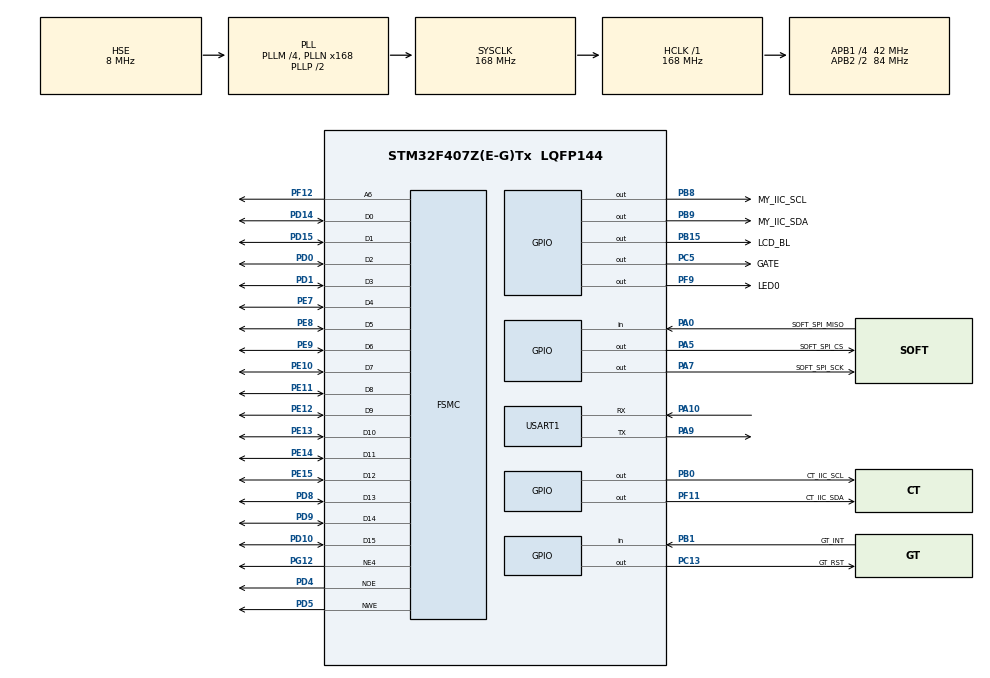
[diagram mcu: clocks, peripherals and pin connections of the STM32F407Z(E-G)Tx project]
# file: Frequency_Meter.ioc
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FSMC.AddressSetupTime4=2
FSMC.DataSetupTime4=5
FSMC.ExtendedAddressSetupTime4=0
FSMC.ExtendedDataSetupTime4=3
FSMC.ExtendedMode4=FSMC_EXTENDED_MODE_ENABLE
Mcu.Family=STM32F4
Mcu.Name=STM32F407Z(E-G)Tx
Mcu.Package=LQFP144
NVIC.PriorityGroup=NVIC_PRIORITYGROUP_4
NVIC.TIM3_IRQn=true\:1\:0\:true\:false\:true\:true\:true
NVIC.TIM4_IRQn=true\:2\:0\:true\:false\:true\:true\:true
NVIC.TIM5_IRQn=true\:3\:0\:true\:false\:true\:true\:true
PA0-WKUP.GPIO_Label=SOFT_SPI_MISO
PA0-WKUP.GPIO_PuPd=GPIO_PULLUP
PA0-WKUP.Signal=GPIO_Input
PA10.Mode=Asynchronous
PA10.Signal=USART1_RX
PA13.Mode=Serial_Wire
PA13.Signal=SYS_JTMS-SWDIO
PA14.Mode=Serial_Wire
PA14.Signal=SYS_JTCK-SWCLK
PA5.GPIO_Label=SOFT_SPI_CS
PA5.GPIO_PuPd=GPIO_PULLUP
PA5.GPIO_Speed=GPIO_SPEED_FREQ_VERY_HIGH
PA5.PinState=GPIO_PIN_SET
PA5.Signal=GPIO_Output
PA7.GPIO_Label=SOFT_SPI_SCK
PA7.GPIO_Speed=GPIO_SPEED_FREQ_VERY_HIGH
PA7.PinState=GPIO_PIN_SET
PA7.Signal=GPIO_Output
PA9.Mode=Asynchronous
PA9.Signal=USART1_TX
PB0.GPIO_Label=CT_IIC_SCL
PB0.GPIO_PuPd=GPIO_PULLUP
PB0.GPIO_Speed=GPIO_SPEED_FREQ_VERY_HIGH
PB0.PinState=GPIO_PIN_SET
PB0.Signal=GPIO_Output
PB1.GPIO_Label=GT_INT
PB1.GPIO_PuPd=GPIO_PULLUP
PB1.Signal=GPIO_Input
PB15.GPIO_Label=LCD_BL
PB15.Signal=GPIO_Output
PB8.GPIO_Label=MY_IIC_SCL
PB8.GPIO_PuPd=GPIO_PULLUP
PB8.GPIO_Speed=GPIO_SPEED_FREQ_HIGH
PB8.PinState=GPIO_PIN_SET
PB8.Signal=GPIO_Output
PB9.GPIO_Label=MY_IIC_SDA
PB9.GPIO_PuPd=GPIO_PULLUP
PB9.GPIO_Speed=GPIO_SPEED_FREQ_HIGH
PB9.PinState=GPIO_PIN_SET
PB9.Signal=GPIO_Output
PC13-ANTI_TAMP.GPIO_Label=GT_RST
PC13-ANTI_TAMP.GPIO_PuPd=GPIO_PULLUP
PC13-ANTI_TAMP.GPIO_Speed=GPIO_SPEED_FREQ_LOW
PC13-ANTI_TAMP.PinState=GPIO_PIN_RESET
PC13-ANTI_TAMP.Signal=GPIO_Output
PC5.GPIO_Label=GATE
PC5.GPIO_PuPd=GPIO_PULLUP
PC5.GPIO_Speed=GPIO_SPEED_FREQ_LOW
PC5.Signal=GPIO_Output
PD0.Signal=FSMC_D2_DA2
PD1.Signal=FSMC_D3_DA3
PD10.Signal=FSMC_D15_DA15
PD14.Signal=FSMC_D0_DA0
PD15.Signal=FSMC_D1_DA1
PD4.Signal=FSMC_NOE
PD5.Signal=FSMC_NWE
PD8.Signal=FSMC_D13_DA13
PD9.Signal=FSMC_D14_DA14
PE10.Signal=FSMC_D7_DA7
PE11.Signal=FSMC_D8_DA8
PE12.Signal=FSMC_D9_DA9
PE13.Signal=FSMC_D10_DA10
PE14.Signal=FSMC_D11_DA11
PE15.Signal=FSMC_D12_DA12
PE7.Signal=FSMC_D4_DA4
PE8.Signal=FSMC_D5_DA5
PE9.Signal=FSMC_D6_DA6
PF11.GPIO_Label=CT_IIC_SDA
PF11.GPIO_ModeDefaultOutputPP=GPIO_MODE_OUTPUT_PP
PF11.GPIO_PuPd=GPIO_PULLUP
PF11.GPIO_Speed=GPIO_SPEED_FREQ_VERY_HIGH
PF11.PinState=GPIO_PIN_SET
PF11.Signal=GPIO_Output
PF12.Signal=FSMC_A6
PF9.GPIO_Label=LED0
PF9.PinState=GPIO_PIN_SET
PF9.Signal=GPIO_Output
PG12.Mode=NorPsramChipSelect4_4
PG12.Signal=FSMC_NE4
PH0-OSC_IN.Mode=HSE-External-Oscillator
PH0-OSC_IN.Signal=RCC_OSC_IN
PH1-OSC_OUT.Mode=HSE-External-Oscillator
PH1-OSC_OUT.Signal=RCC_OSC_OUT
ProjectManager.HeapSize=0x200
ProjectManager.StackSize=0x400
ProjectManager.TargetToolchain=SW4STM32
RCC.48MHZClocksFreq_Value=84000000
RCC.AHBFreq_Value=168000000
RCC.APB1CLKDivider=RCC_HCLK_DIV4
RCC.APB1Freq_Value=42000000
RCC.APB1TimFreq_Value=84000000
RCC.APB2CLKDivider=RCC_HCLK_DIV2
RCC.APB2Freq_Value=84000000
RCC.APB2TimFreq_Value=168000000
RCC.CortexFreq_Value=168000000
RCC.HCLKFreq_Value=168000000
RCC.HSE_VALUE=8000000
RCC.HSI_VALUE=16000000
RCC.LSE_VALUE=32768
RCC.PLLM=4
RCC.PLLN=168
RCC.PLLSourceVirtual=RCC_PLLSOURCE_HSE
RCC.SYSCLKFreq_VALUE=168000000
RCC.SYSCLKSource=RCC_SYSCLKSOURCE_PLLCLK
RCC.VCOOutputFreq_Value=336000000
SH.FSMC_A6.0=FSMC_A6,A6_4
SH.FSMC_D0_DA0.0=FSMC_D0,16b-d4
SH.FSMC_D10_DA10.0=FSMC_D10,16b-d4
SH.FSMC_D11_DA11.0=FSMC_D11,16b-d4
SH.FSMC_D12_DA12.0=FSMC_D12,16b-d4
SH.FSMC_D13_DA13.0=FSMC_D13,16b-d4
SH.FSMC_D14_DA14.0=FSMC_D14,16b-d4
SH.FSMC_D15_DA15.0=FSMC_D15,16b-d4
SH.FSMC_D1_DA1.0=FSMC_D1,16b-d4
SH.FSMC_D2_DA2.0=FSMC_D2,16b-d4
SH.FSMC_D3_DA3.0=FSMC_D3,16b-d4
SH.FSMC_D4_DA4.0=FSMC_D4,16b-d4
SH.FSMC_D5_DA5.0=FSMC_D5,16b-d4
SH.FSMC_D6_DA6.0=FSMC_D6,16b-d4
SH.FSMC_D7_DA7.0=FSMC_D7,16b-d4
SH.FSMC_D8_DA8.0=FSMC_D8,16b-d4
SH.FSMC_D9_DA9.0=FSMC_D9,16b-d4
SH.FSMC_NOE.0=FSMC_NOE,Lcd4
SH.FSMC_NWE.0=FSMC_NWE,Lcd4
TIM3.AutoReloadPreload=TIM_AUTORELOAD_PRELOAD_ENABLE
TIM3.Period=999
TIM3.Prescaler=83
TIM4.AutoReloadPreload=TIM_AUTORELOAD_PRELOAD_ENABLE
TIM4.Period=999
TIM4.Prescaler=839
TIM5.AutoReloadPreload=TIM_AUTORELOAD_PRELOAD_ENABLE
TIM5.Period=8399
TIM5.Prescaler=4999
USART1.VirtualMode=VM_ASYNC
VP_CRC_VS_CRC.Mode=CRC_Activate
VP_TIM3_VS_ClockSourceINT.Mode=Internal
VP_TIM4_VS_ClockSourceINT.Mode=Internal
VP_TIM5_VS_ClockSourceINT.Mode=Internal
board=custom

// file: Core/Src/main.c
/* USER CODE BEGIN Header */
/**
  ******************************************************************************
  * @file           : main.c
  * @brief          : Main program body
  ******************************************************************************
  * @attention
  *
  * <h2><center>&copy; Copyright (c) 2020 STMicroelectronics.
  * All rights reserved.</center></h2>
  *
  * This software component is licensed by ST under Ultimate Liberty license
  * SLA0044, the "License"; You may not use this file except in compliance with
  * the License. You may obtain a copy of the License at:
  *                             www.st.com/SLA0044
  *
  ******************************************************************************
  */
/* USER CODE END Header */
#include "main.h"
#include "crc.h"
#include "tim.h"
#include "usart.h"
#include "gpio.h"
#include "fsmc.h"

/* USER CODE BEGIN Includes */
#include <retarget.h>
#include "ILI93xx.h"
#include "GUI.h"
#include "touch.h"
#include "emwinDemo.h"
#include "DIALOG.h"
#include "spi_soft.h"
/* USER CODE END Includes */

/* USER CODE BEGIN PV */
extern WM_HWIN hWin_user;//对话框

double frequency = 0;//频率
double period = 0;//周期
double delay_time = 0;//时间间隔
double duty = 0;//占空比

//————————————————————————
//一次spi数据传输
//MSB8位:   开始标志0x11
//32位：    待测信号占空比计数值
//32位：    双通道同频率信号的时间间隔计数值
//32位：    待测信号频率计数值
//32位：   	标准信号频率计数值
//8位：     结束标志0xff
//8位：   	校验码0x0a
//8位：   	校验码0x0b
//————————————————————————
uint32_t fbase_cnt = 0;  //标准信号频率计数值
uint32_t fx_cnt = 0;     //待测信号频率计数值
uint32_t time_cnt = 0;   //双通道同频率信号的时间间隔计数值
uint32_t duty_cnt = 0;   //待测信号占空比计数值
uint8_t end_flag = 0;	//结束标志0xff
uint8_t check_flag1 = 0;	//校验码0x0a
uint8_t check_flag2 = 0;	//校验码0x0a

/* USER CODE END PV */

void SystemClock_Config(void);

int main(void)
{
  /* USER CODE BEGIN 1 */
    WM_MESSAGE message;
    message.MsgId = WM_SHOW_MSG;
  /* USER CODE END 1 */

  /* MCU Configuration--------------------------------------------------------*/

  /* Reset of all peripherals, Initializes the Flash interface and the Systick. */
  HAL_Init();

  /* Configure the system clock */
  SystemClock_Config();

  /* Initialize all configured peripherals */
  MX_GPIO_Init();
  MX_USART1_UART_Init();
  MX_FSMC_Init();
  MX_CRC_Init();
  MX_TIM4_Init();
  MX_TIM5_Init();
  MX_TIM3_Init();
  /* USER CODE BEGIN 2 */
    RetargetInit(&huart1);
    TFTLCD_Init();
    TP_Init();
    WM_SetCreateFlags(WM_CF_MEMDEV);
    GUI_Init();

    HAL_TIM_Base_Start_IT(&htim3);
    HAL_TIM_Base_Start_IT(&htim4);
    HAL_TIM_Base_Start_IT(&htim5);

    emwinDemo();
  /* USER CODE END 2 */

  /* Infinite loop */
  /* USER CODE BEGIN WHILE */
  while (1)
  {
      GUI_Delay(1);
      if(Soft_SPI_Read_Byte() == 0x11)
      {
          if(end_flag == 0xff && check_flag1 == 0x0a && check_flag2 == 0x0b)
          {
              //计算得到频率值和周期值,占空比
              if(fbase_cnt != 0 && fx_cnt != 0 && duty_cnt != 0)
              {
                  frequency = 200000000.0 * fx_cnt / fbase_cnt;//频率
//					printf("fbase_cnt: %d\r\n",fbase_cnt);
//					printf("fx_cnt: %d\r\n",fx_cnt);
//					printf("duty_cnt: %d\r\n",duty_cnt);
//					printf("time_cnt: %d\r\n",time_cnt);
                  period = 1 / frequency;//周期
                  duty = duty_cnt * 1.0 / fbase_cnt * 100;//占空比
                  //计算时间间隔
                  if(time_cnt != 0)
                  {
                      delay_time = time_cnt * 1.0 / fbase_cnt * period;//时间间隔
                  }
              }
              end_flag = 0; check_flag1 = 0; check_flag2 = 0;
              WM_SendMessage(WM_GetClientWindow(hWin_user), &message);//发送消息给窗口
          }
      }
    /* USER CODE END WHILE */

  }
}

void SystemClock_Config(void)
{
  RCC_OscInitTypeDef RCC_OscInitStruct = {0};
  RCC_ClkInitTypeDef RCC_ClkInitStruct = {0};

  /** Configure the main internal regulator output voltage
  */
  __HAL_RCC_PWR_CLK_ENABLE();
  __HAL_PWR_VOLTAGESCALING_CONFIG(PWR_REGULATOR_VOLTAGE_SCALE1);
  /** Initializes the RCC Oscillators according to the specified parameters
  * in the RCC_OscInitTypeDef structure.
  */
  RCC_OscInitStruct.OscillatorType = RCC_OSCILLATORTYPE_HSE;
  RCC_OscInitStruct.HSEState = RCC_HSE_ON;
  RCC_OscInitStruct.PLL.PLLState = RCC_PLL_ON;
  RCC_OscInitStruct.PLL.PLLSource = RCC_PLLSOURCE_HSE;
  RCC_OscInitStruct.PLL.PLLM = 4;
  RCC_OscInitStruct.PLL.PLLN = 168;
  RCC_OscInitStruct.PLL.PLLP = RCC_PLLP_DIV2;
  RCC_OscInitStruct.PLL.PLLQ = 4;
  if (HAL_RCC_OscConfig(&RCC_OscInitStruct) != HAL_OK)
  {
    Error_Handler();
  }
  /** Initializes the CPU, AHB and APB buses clocks
  */
  RCC_ClkInitStruct.ClockType = RCC_CLOCKTYPE_HCLK|RCC_CLOCKTYPE_SYSCLK
                              |RCC_CLOCKTYPE_PCLK1|RCC_CLOCKTYPE_PCLK2;
  RCC_ClkInitStruct.SYSCLKSource = RCC_SYSCLKSOURCE_PLLCLK;
  RCC_ClkInitStruct.AHBCLKDivider = RCC_SYSCLK_DIV1;
  RCC_ClkInitStruct.APB1CLKDivider = RCC_HCLK_DIV4;
  RCC_ClkInitStruct.APB2CLKDivider = RCC_HCLK_DIV2;

  if (HAL_RCC_ClockConfig(&RCC_ClkInitStruct, FLASH_LATENCY_5) != HAL_OK)
  {
    Error_Handler();
  }
}

void Error_Handler(void)
{
}

/************************ (C) COPYRIGHT STMicroelectronics *****END OF FILE****/
